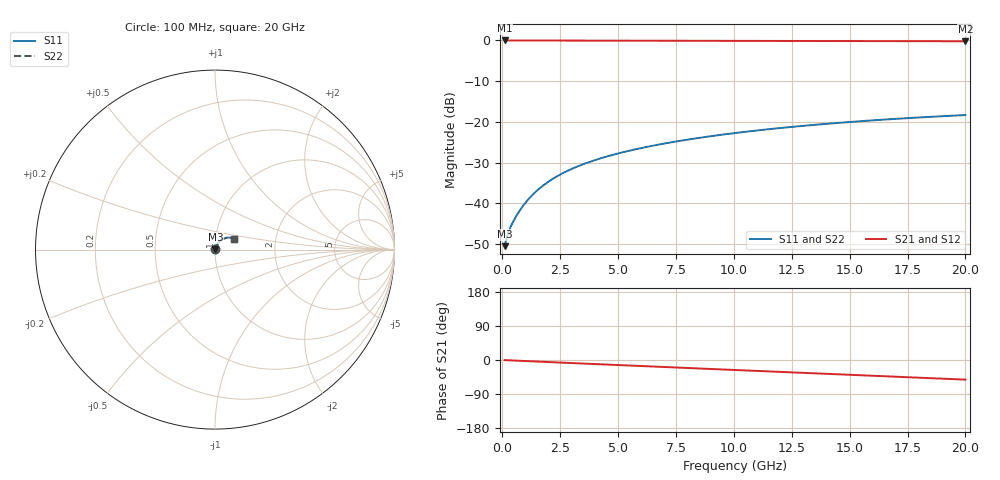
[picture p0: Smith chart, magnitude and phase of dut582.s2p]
! Touchstone file exported from HFSS 2026.1.0
!  File:  C:/ffzhzh/LocalFiles/Ansys_Project_Files/temp_train_BSMRDL_582_1783015711_46388.aedt
!  Generated:  02:09:57 AM Jul  3, 2026
!  Design:  BSMRDL
!  Project:  temp_train_BSMRDL_582_1783015711_46388
! Variables:
!  h_bsmrdl = 5.55um
!  h_ox = 20um
!  h_rdl = 5um
!  h_sub = 80um
!  h_tmrdl = 5um
!  h_tsv = 80um
!  h_via = 3um
!  l_bsmrdl = 919.33um
!  l_sub = 1319.33um
!  l_tmrdl = 200um
!  m_sub = 200um
!  pitch = 34.81um
!  r_tsv = 6um
!  s_tmrdl = 10um
!  w_bsmrdl = 25.94um
!  w_sub = 500um
!  w_tmrdl = 12um
!  x_tsv_center1 = 206um
!  x_tsv_center2 = 1151.27um
!  x_tsv_center3 = 1363.27um
!  x_tsv_center4 = 2308.54um
!  x_tsv_center5 = 2520.54um
!  x_tsv_center6 = 3465.81um
# GHz S MA R 50.000000
! Terminal data exported
! Port[1] = BSM_RDL1_1_T1
! Port[2] = BSM_RDL1_1_T2
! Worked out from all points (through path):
!   200 points, 100 MHz to 20 GHz, reference 50 ohm
!   highest |S21| = -0.02 dB at 100 MHz (marker M1); lowest = -0.2 dB at 20 GHz (marker M2)
!   group delay of S21, straight-line fit = 7.17 ps
!   lowest |S11| = -50.5 dB at 100 MHz (marker M3), VSWR 1.01, Z = 50.3 + j0.143 ohm
!   |S11| at or under -10 dB: start of sweep to end of sweep
!   |S22| runs from -50.5 to -18.3 dB; largest |S21 - S12| = 1.5e-14
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0.1  0.002977 28.4  0.9974 -0.3  0.9974 -0.3  0.002977 28.4
! Gamma 0 0 0 0
! Port Impedance 50 0 50 0
0.2  0.003904 39.0  0.997 -0.6  0.997 -0.6  0.003904 39.0
0.3  0.004698 44.8  0.9967 -0.9  0.9967 -0.9  0.004698 44.8
0.5  0.006175 53.1  0.9964 -1.4  0.9964 -1.4  0.006175 53.1
0.7  0.007715 58.8  0.9963 -1.9  0.9963 -1.9  0.007715 58.8
0.9  0.009328 62.5  0.9961 -2.5  0.9961 -2.5  0.009327 62.5
1.1  0.01098 64.9  0.9959 -3.0  0.9959 -3.0  0.01098 64.9
1.3  0.01266 66.5  0.9956 -3.5  0.9956 -3.5  0.01266 66.5
1.7  0.01601 68.0  0.9951 -4.6  0.9951 -4.6  0.01601 68.0
2.2  0.02012 68.4  0.9944 -6.0  0.9944 -6.0  0.02012 68.5
2.8  0.0249 68.0  0.9935 -7.6  0.9935 -7.6  0.02489 68.0
3.5  0.03022 66.9  0.9924 -9.4  0.9924 -9.4  0.03022 66.9
4.2  0.03532 65.6  0.9913 -11.2  0.9913 -11.2  0.03531 65.6
5  0.04092 64.0  0.9902 -13.3  0.9902 -13.3  0.04091 64.1
5.9  0.04699 62.2  0.989 -15.7  0.989 -15.7  0.04697 62.3
6.8  0.05287 60.3  0.9879 -18.0  0.9879 -18.0  0.05285 60.4
8.3  0.06233 57.2  0.9861 -21.9  0.9861 -21.9  0.0623 57.3
10.1  0.07316 53.3  0.9842 -26.5  0.9842 -26.5  0.07312 53.4
11.7  0.08229 49.7  0.9825 -30.6  0.9825 -30.6  0.08224 49.9
13.4  0.09145 45.9  0.9808 -35.0  0.9808 -35.0  0.09139 46.1
16.7  0.1075 38.2  0.9776 -43.4  0.9776 -43.4  0.1074 38.5
20  0.1211 30.5  0.9747 -51.8  0.9747 -51.8  0.121 30.7
